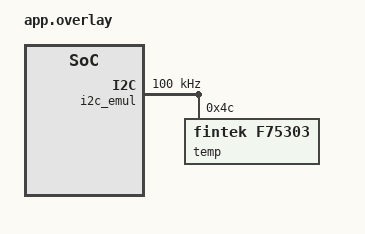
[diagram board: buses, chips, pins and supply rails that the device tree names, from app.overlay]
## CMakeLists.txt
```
cmake_minimum_required(VERSION 3.20.0)
find_package(Zephyr REQUIRED HINTS $ENV{ZEPHYR_BASE})
project(sensor_emul)
# app.overlay: an emulated I2C bus with a Fintek F75303 temperature sensor (Zephyr's driver + its emulator)
target_sources(app PRIVATE src/thermal.c src/test_thermal.c)
```

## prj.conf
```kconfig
CONFIG_ZTEST=y
CONFIG_SENSOR=y
CONFIG_I2C=y
CONFIG_EMUL=y
CONFIG_I2C_EMUL=y
```

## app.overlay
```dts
/* An emulated I2C controller with an F75303 temperature sensor at 0x4c. The real driver talks I2C;
 * the emulator answers the register reads, and tests set its temperature through the emul backend API.
 * On a board the same `temp` node goes under the real &i2c1 (BlackPill: PB6/PB7) and nothing else changes.
 */
#include <zephyr/dt-bindings/i2c/i2c.h>

/ {
	i2c_emul: i2c@7fff0000 {
		compatible = "zephyr,i2c-emul-controller";
		reg = <0x7fff0000 0x4>;
		#address-cells = <1>;
		#size-cells = <0>;
		clock-frequency = <I2C_BITRATE_STANDARD>;
		status = "okay";

		temp: f75303@4c {
			compatible = "fintek,f75303";
			reg = <0x4c>;
		};
	};
};
```

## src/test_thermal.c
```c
#include <zephyr/ztest.h>
#include <zephyr/drivers/emul.h>
#include <zephyr/drivers/emul_sensor.h>
#include <zephyr/drivers/sensor.h>
#include <zephyr/drivers/sensor/f75303.h>
#include "thermal.h"

static const struct device *dev = DEVICE_DT_GET(DT_NODELABEL(temp));
static const struct emul *emul = EMUL_DT_GET(DT_NODELABEL(temp));

/* set a channel of the emulated chip, in milli-degrees (q31 with shift 8: range +-256 C) */
static void emul_set_mdeg(enum sensor_channel ch, int32_t mdeg)
{
	q31_t q = (q31_t)(((int64_t)mdeg << (31 - 8)) / 1000);

	zassert_ok(emul_sensor_backend_set_channel(emul, (struct sensor_chan_spec){ch, 0}, &q, 8));
}

ZTEST_SUITE(sensor_emul, NULL, NULL, NULL, NULL, NULL);

ZTEST(sensor_emul, test_device_ready)
{
	zassert_true(device_is_ready(dev), "F75303 driver did not initialise over the emulated bus");
}

ZTEST(sensor_emul, test_read_ambient)
{
	struct sensor_value v;

	emul_set_mdeg(SENSOR_CHAN_AMBIENT_TEMP, 25500);
	zassert_ok(sensor_sample_fetch(dev));
	zassert_ok(sensor_channel_get(dev, SENSOR_CHAN_AMBIENT_TEMP, &v));
	zassert_equal(v.val1, 25);
	zassert_equal(v.val2, 500000);
}

ZTEST(sensor_emul, test_remote_channels_and_resolution)
{
	struct sensor_value v;

	emul_set_mdeg((enum sensor_channel)SENSOR_CHAN_F75303_REMOTE1, 60130); /* 0.125 C steps: 60.125 */
	emul_set_mdeg((enum sensor_channel)SENSOR_CHAN_F75303_REMOTE2, 3000);
	zassert_ok(sensor_sample_fetch(dev));
	zassert_ok(sensor_channel_get(dev, (enum sensor_channel)SENSOR_CHAN_F75303_REMOTE1, &v));
	zassert_equal(v.val1 * 1000 + v.val2 / 1000, 60125);
	zassert_ok(sensor_channel_get(dev, (enum sensor_channel)SENSOR_CHAN_F75303_REMOTE2, &v));
	zassert_equal(v.val1, 3);
}

ZTEST(sensor_emul, test_sample_range)
{
	q31_t lower, upper, eps;
	int8_t shift;

	zassert_ok(emul_sensor_backend_get_sample_range(emul, (struct sensor_chan_spec){SENSOR_CHAN_AMBIENT_TEMP, 0},
							&lower, &upper, &eps, &shift));
	zassert_equal(shift, 8);
	/* epsilon = 0.125 C in q31 << 8 */
	zassert_equal(((int64_t)eps << shift) * 1000 / ((int64_t)INT32_MAX + 1), 125);
}

ZTEST(sensor_emul, test_thermal_states)
{
	int32_t mdeg;

	emul_set_mdeg(SENSOR_CHAN_AMBIENT_TEMP, 40000);
	zassert_equal(thermal_check(dev, 85000, &mdeg), THERMAL_OK);
	emul_set_mdeg(SENSOR_CHAN_AMBIENT_TEMP, 81000);
	zassert_equal(thermal_check(dev, 85000, &mdeg), THERMAL_WARN);
	emul_set_mdeg(SENSOR_CHAN_AMBIENT_TEMP, 90000);
	zassert_equal(thermal_check(dev, 85000, &mdeg), THERMAL_TRIP);
	zassert_equal(mdeg, 90000);
}
```

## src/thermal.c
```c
#include <zephyr/drivers/sensor.h>
#include "thermal.h"

enum thermal_state thermal_check(const struct device *dev, int32_t trip_mdeg, int32_t *mdeg)
{
	struct sensor_value v;

	if (!device_is_ready(dev) || sensor_sample_fetch(dev) != 0 ||
	    sensor_channel_get(dev, SENSOR_CHAN_AMBIENT_TEMP, &v) != 0) {
		return THERMAL_ERROR;
	}
	*mdeg = v.val1 * 1000 + v.val2 / 1000;
	if (*mdeg >= trip_mdeg) {
		return THERMAL_TRIP;
	}
	return *mdeg >= trip_mdeg - 5000 ? THERMAL_WARN : THERMAL_OK;
}
```

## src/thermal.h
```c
#ifndef THERMAL_H
#define THERMAL_H
#include <zephyr/device.h>

enum thermal_state { THERMAL_OK, THERMAL_WARN, THERMAL_TRIP, THERMAL_ERROR };

/* reads the local temperature of a sensor device (any driver with SENSOR_CHAN_AMBIENT_TEMP) and
 * classifies it: >= trip_mdeg TRIP, >= trip_mdeg - 5000 WARN, else OK
 */
enum thermal_state thermal_check(const struct device *dev, int32_t trip_mdeg, int32_t *mdeg);

#endif
```
